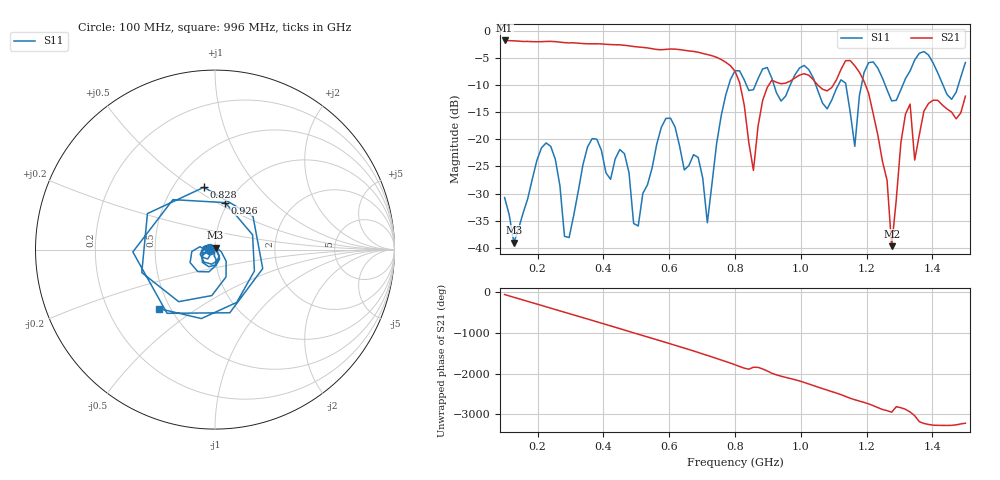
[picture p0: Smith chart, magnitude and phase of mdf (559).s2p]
! NanoVNA-App
! Date: 2025-09-25 15:42:46
! Start: 100MHz Stop: 1,5GHz Points: 101
! S-Parameter data: F S11 S21 S12 S22
# Hz S RI R 50
!  Frequency  S11_Real  S11_Imag  S21_Real  S21_Imag  S12_Real  S12_Imag  S22_Real  S22_Imag
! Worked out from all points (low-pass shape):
!   101 points, 100 MHz to 1.5 GHz, reference 50 ohm
!   highest |S21| = -1.80 dB at 100 MHz (marker M1); lowest = -39.7 dB at 1.276 GHz (marker M2)
!   |S21| within 3 dB of the highest: start of sweep to 739.3 MHz
!   lowest |S11| = -39.0 dB at 128 MHz (marker M3), VSWR 1.02, Z = 50.3 + j1.08 ohm
!   |S11| at or under -10 dB: start of sweep to 781.1 MHz; 1.046 GHz to 1.114 GHz (68.37 MHz wide, 6.33 % of centre); 1.256 GHz to 1.31 GHz (53.7 MHz wide, 4.19 % of centre) (the widest 3 of 7)
!   S12 and S22 are empty: the file has one direction only
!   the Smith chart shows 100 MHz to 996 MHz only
!   S11 on the Smith chart (normalised r, x): 100 MHz: 0.94, -0.01; 828 MHz: 0.70, +0.56; 926 MHz: 0.97, +0.55; 996 MHz: 0.43, -0.36
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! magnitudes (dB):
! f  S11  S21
! 100 MHz  -30.7  -1.8
! 128 MHz  -39.0  -1.9
! 212 MHz  -21.6  -2.0
! 282 MHz  -37.9  -2.2
! 338 MHz  -24.7  -2.4
! 464 MHz  -22.6  -2.7
! 506 MHz  -36.0  -3.0
! 576 MHz  -17.8  -3.5
! 716 MHz  -35.4  -4.4
! 800 MHz  -7.4  -7.5
! 828 MHz  -9.1  -13.7
! 856 MHz  -10.9  -25.7
! 926 MHz  -11.4  -9.5
! 996 MHz  -6.9  -8.2
! 1.038 GHz  -8.7  -9.0
! 1.136 GHz  -9.6  -5.5
! 1.164 GHz  -21.3  -6.5
! 1.192 GHz  -7.7  -9.3
! 1.276 GHz  -12.9  -39.7
! 1.332 GHz  -7.4  -13.5
! 1.346 GHz  -5.4  -23.8
! 1.5 GHz  -5.9  -12.1
